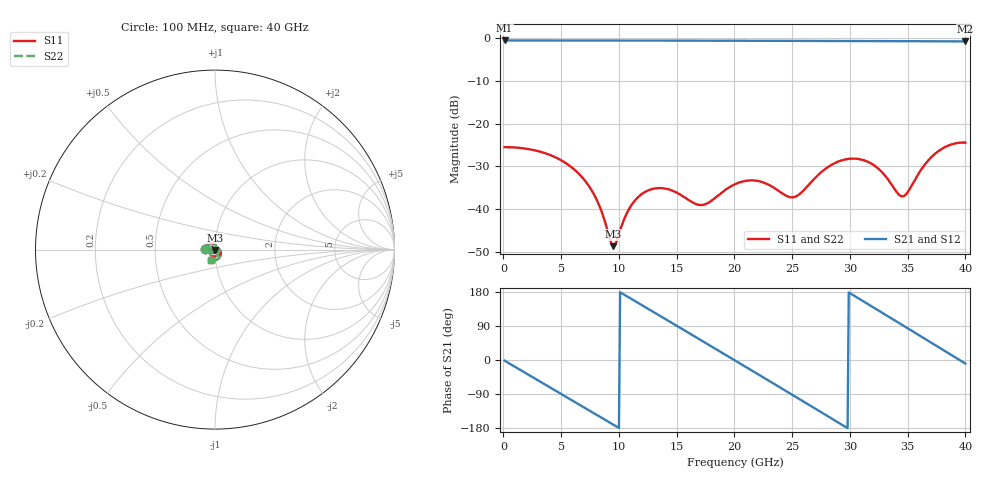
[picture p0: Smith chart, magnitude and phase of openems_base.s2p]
! thru_s4_L1: 2×thru, L1, 8 mm
! stackup: 4-layer 1.6 mm FR-4
! ports: 1, 2
! openEMS 0.37.0, staircase, base mesh (dfine 0.035 mm), 345984 cells
# Hz S RI R 50
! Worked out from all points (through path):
!   400 points, 100 MHz to 40 GHz, reference 50 ohm
!   highest |S21| = -0.48 dB at 100 MHz (marker M1); lowest = -0.7 dB at 40 GHz (marker M2)
!   group delay of S21, straight-line fit = 50.6 ps
!   lowest |S11| = -48.7 dB at 9.5 GHz (marker M3), VSWR 1.01, Z = 50.3 - j0.251 ohm
!   |S11| at or under -10 dB: start of sweep to end of sweep
!   |S22| runs from -48.7 to -24.4 dB; largest |S21 - S12| = 0
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1e8  -0.0532 0.00115  0.9458 -0.0296  0.9458 -0.0296  -0.0532 0.00115
1.8e9  -0.0473 0.0201  0.8002 -0.5048  0.8002 -0.5048  -0.0473 0.0201
3.7e9  -0.0293 0.0339  0.3803 -0.8662  0.3803 -0.8662  -0.0293 0.0339
6.8e9  0.00401 0.0233  -0.4996 -0.8024  -0.4996 -0.8024  0.00401 0.0233
8.2e9  0.00793 0.00875  -0.7926 -0.5138  -0.7926 -0.5138  0.00793 0.00875
9.5e9  0.0027 -0.0025  -0.9308 -0.1573  -0.9308 -0.1573  0.0027 -0.0025
1.13e10  -0.011 -0.00534  -0.8696 0.3653  -0.8696 0.3653  -0.011 -0.00534
1.34e10  -0.0158 0.00773  -0.462 0.8217  -0.462 0.8217  -0.0158 0.00773
1.64e10  0.00675 0.00982  0.397 0.8537  0.397 0.8537  0.00675 0.00982
1.84e10  0.00979 -0.00967  0.824 0.4523  0.824 0.4523  0.00979 -0.00967
2.01e10  -0.00464 -0.0192  0.9379 -0.0351  0.9379 -0.0351  -0.00464 -0.0192
2.18e10  -0.0191 -0.01  0.7853 -0.512  0.7853 -0.512  -0.0191 -0.01
2.37e10  -0.0138 0.00964  0.3538 -0.8671  0.3538 -0.8671  -0.0138 0.00964
2.52e10  0.00529 0.0128  -0.0861 -0.9317  -0.0861 -0.9317  0.00529 0.0128
2.67e10  0.0209 -0.00257  -0.5066 -0.7854  -0.5066 -0.7854  0.0209 -0.00257
2.84e10  0.016 -0.0288  -0.8395 -0.4077  -0.8395 -0.4077  0.016 -0.0288
3e10  -0.00823 -0.038  -0.9301 0.0583  -0.9301 0.0583  -0.00823 -0.038
3.34e10  -0.0199 0.00771  -0.3707 0.8525  -0.3707 0.8525  -0.0199 0.00771
3.47e10  0.00427 0.0137  0.0106 0.9283  0.0106 0.9283  0.00427 0.0137
3.63e10  0.0297 -0.00776  0.4691 0.7987  0.4691 0.7987  0.0297 -0.00776
3.82e10  0.0204 -0.0489  0.8426 0.3784  0.8426 0.3784  0.0204 -0.0489
4e10  -0.0204 -0.0565  0.9098 -0.1509  0.9098 -0.1509  -0.0204 -0.0565
